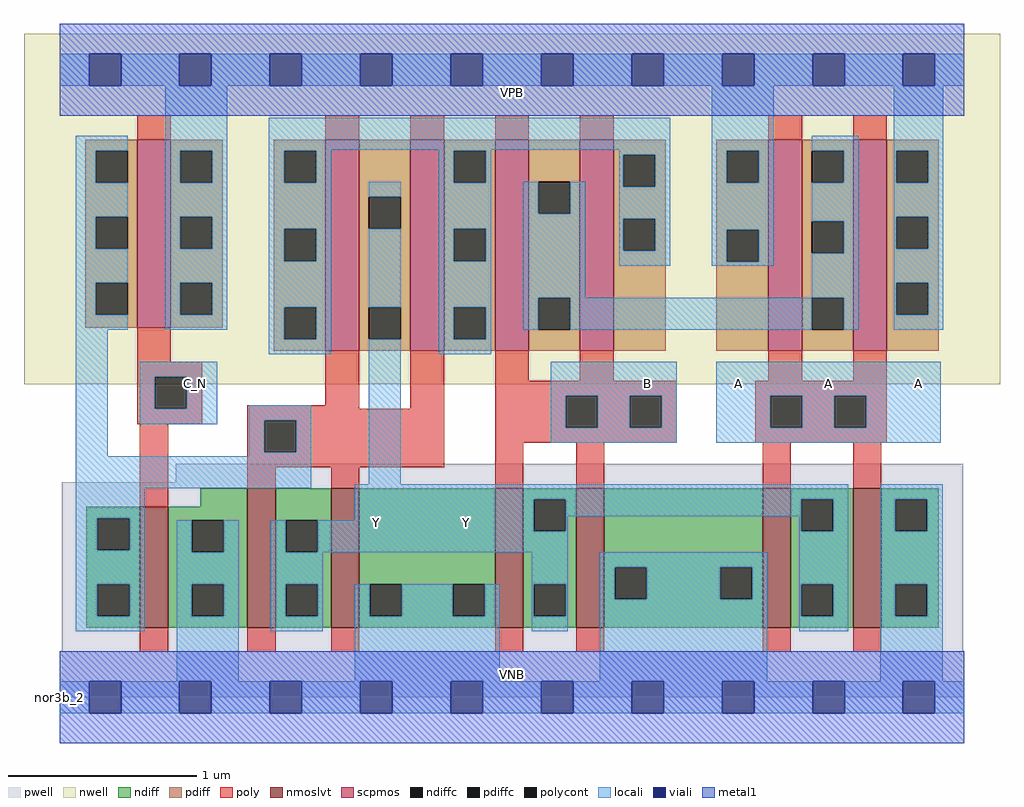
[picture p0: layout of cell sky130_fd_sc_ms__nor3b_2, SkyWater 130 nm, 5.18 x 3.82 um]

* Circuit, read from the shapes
.subckt sky130_fd_sc_ms__nor3b_2 A B C_N VGND VNB VPB VPWR Y
XM1 VGND C_N n1 VNB sky130_fd_pr__nfet_01v8_lvt w=0.64 l=0.15
XM2 Y n1 VGND VNB sky130_fd_pr__nfet_01v8_lvt w=0.74 l=0.15 m=2
XM3 Y B VGND VNB sky130_fd_pr__nfet_01v8_lvt w=0.74 l=0.15 m=2
XM4 Y A VGND VNB sky130_fd_pr__nfet_01v8_lvt w=0.74 l=0.15 m=2
XM5 VPWR C_N n1 VPB sky130_fd_pr__pfet_01v8 w=1 l=0.18
XM6 Y n1 n2 VPB sky130_fd_pr__pfet_01v8 w=1.12 l=0.18 m=2
XM7 n3 B n2 VPB sky130_fd_pr__pfet_01v8 w=1.12 l=0.18 m=2
XM8 n3 A VPWR VPB sky130_fd_pr__pfet_01v8 w=1.12 l=0.18 m=2
.ends

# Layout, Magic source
magic
tech sky130A
magscale 1 2
<< nwell >>
rect -38 332 998 704
<< pwell >>
rect 123 228 959 248
rect 2 49 959 228
rect 0 0 960 49
<< scpmos >>
rect 82 392 118 592
rect 282 368 318 592
rect 372 368 408 592
rect 462 368 498 592
rect 552 368 588 592
rect 752 368 788 592
rect 842 368 878 592
<< nmoslvt >>
rect 85 74 115 202
rect 199 74 229 222
rect 288 74 318 222
rect 462 74 492 222
rect 548 74 578 222
rect 746 74 776 222
rect 842 74 872 222
<< ndiff >>
rect 149 202 199 222
rect 28 190 85 202
rect 28 156 40 190
rect 74 156 85 190
rect 28 120 85 156
rect 28 86 40 120
rect 74 86 85 120
rect 28 74 85 86
rect 115 188 199 202
rect 115 154 140 188
rect 174 154 199 188
rect 115 120 199 154
rect 115 86 140 120
rect 174 86 199 120
rect 115 74 199 86
rect 229 188 288 222
rect 229 154 240 188
rect 274 154 288 188
rect 229 120 288 154
rect 229 86 240 120
rect 274 86 288 120
rect 229 74 288 86
rect 318 120 462 222
rect 318 86 329 120
rect 363 86 417 120
rect 451 86 462 120
rect 318 74 462 86
rect 492 210 548 222
rect 492 176 503 210
rect 537 176 548 210
rect 492 120 548 176
rect 492 86 503 120
rect 537 86 548 120
rect 492 74 548 86
rect 578 138 746 222
rect 578 104 589 138
rect 623 104 701 138
rect 735 104 746 138
rect 578 74 746 104
rect 776 210 842 222
rect 776 176 787 210
rect 821 176 842 210
rect 776 120 842 176
rect 776 86 787 120
rect 821 86 842 120
rect 776 74 842 86
rect 872 210 933 222
rect 872 176 887 210
rect 921 176 933 210
rect 872 120 933 176
rect 872 86 887 120
rect 921 86 933 120
rect 872 74 933 86
<< pdiff >>
rect 27 580 82 592
rect 27 546 38 580
rect 72 546 82 580
rect 27 510 82 546
rect 27 476 38 510
rect 72 476 82 510
rect 27 440 82 476
rect 27 406 38 440
rect 72 406 82 440
rect 27 392 82 406
rect 118 580 173 592
rect 118 546 128 580
rect 162 546 173 580
rect 118 510 173 546
rect 118 476 128 510
rect 162 476 173 510
rect 118 440 173 476
rect 118 406 128 440
rect 162 406 173 440
rect 118 392 173 406
rect 227 580 282 592
rect 227 546 238 580
rect 272 546 282 580
rect 227 497 282 546
rect 227 463 238 497
rect 272 463 282 497
rect 227 414 282 463
rect 227 380 238 414
rect 272 380 282 414
rect 227 368 282 380
rect 318 531 372 592
rect 318 497 328 531
rect 362 497 372 531
rect 318 414 372 497
rect 318 380 328 414
rect 362 380 372 414
rect 318 368 372 380
rect 408 580 462 592
rect 408 546 418 580
rect 452 546 462 580
rect 408 497 462 546
rect 408 463 418 497
rect 452 463 462 497
rect 408 414 462 463
rect 408 380 418 414
rect 452 380 462 414
rect 408 368 462 380
rect 498 547 552 592
rect 498 513 508 547
rect 542 513 552 547
rect 498 424 552 513
rect 498 390 508 424
rect 542 390 552 424
rect 498 368 552 390
rect 588 576 643 592
rect 588 542 598 576
rect 632 542 643 576
rect 588 508 643 542
rect 588 474 598 508
rect 632 474 643 508
rect 588 368 643 474
rect 697 580 752 592
rect 697 546 708 580
rect 742 546 752 580
rect 697 496 752 546
rect 697 462 708 496
rect 742 462 752 496
rect 697 368 752 462
rect 788 580 842 592
rect 788 546 798 580
rect 832 546 842 580
rect 788 505 842 546
rect 788 471 798 505
rect 832 471 842 505
rect 788 424 842 471
rect 788 390 798 424
rect 832 390 842 424
rect 788 368 842 390
rect 878 580 933 592
rect 878 546 888 580
rect 922 546 933 580
rect 878 510 933 546
rect 878 476 888 510
rect 922 476 933 510
rect 878 440 933 476
rect 878 406 888 440
rect 922 406 933 440
rect 878 368 933 406
<< ndiffc >>
rect 40 156 74 190
rect 40 86 74 120
rect 140 154 174 188
rect 140 86 174 120
rect 240 154 274 188
rect 240 86 274 120
rect 329 86 363 120
rect 417 86 451 120
rect 503 176 537 210
rect 503 86 537 120
rect 589 104 623 138
rect 701 104 735 138
rect 787 176 821 210
rect 787 86 821 120
rect 887 176 921 210
rect 887 86 921 120
<< pdiffc >>
rect 38 546 72 580
rect 38 476 72 510
rect 38 406 72 440
rect 128 546 162 580
rect 128 476 162 510
rect 128 406 162 440
rect 238 546 272 580
rect 238 463 272 497
rect 238 380 272 414
rect 328 497 362 531
rect 328 380 362 414
rect 418 546 452 580
rect 418 463 452 497
rect 418 380 452 414
rect 508 513 542 547
rect 508 390 542 424
rect 598 542 632 576
rect 598 474 632 508
rect 708 546 742 580
rect 708 462 742 496
rect 798 546 832 580
rect 798 471 832 505
rect 798 390 832 424
rect 888 546 922 580
rect 888 476 922 510
rect 888 406 922 440
<< poly >>
rect 82 592 118 618
rect 282 592 318 618
rect 372 592 408 618
rect 462 592 498 618
rect 552 592 588 618
rect 752 592 788 618
rect 842 592 878 618
rect 82 356 118 392
rect 82 340 151 356
rect 82 306 101 340
rect 135 306 151 340
rect 282 310 318 368
rect 82 290 151 306
rect 199 306 318 310
rect 372 306 408 368
rect 199 294 408 306
rect 85 202 115 290
rect 199 260 217 294
rect 251 260 408 294
rect 199 244 408 260
rect 462 336 498 368
rect 552 336 588 368
rect 752 336 788 368
rect 842 336 878 368
rect 462 320 655 336
rect 462 286 537 320
rect 571 286 605 320
rect 639 286 655 320
rect 462 270 655 286
rect 738 320 878 336
rect 738 286 754 320
rect 788 286 822 320
rect 856 286 878 320
rect 738 270 878 286
rect 199 222 229 244
rect 288 222 318 244
rect 462 222 492 270
rect 548 222 578 270
rect 746 222 776 270
rect 842 222 872 270
rect 85 48 115 74
rect 199 48 229 74
rect 288 48 318 74
rect 462 48 492 74
rect 548 48 578 74
rect 746 48 776 74
rect 842 48 872 74
<< polycont >>
rect 101 306 135 340
rect 217 260 251 294
rect 537 286 571 320
rect 605 286 639 320
rect 754 286 788 320
rect 822 286 856 320
<< locali >>
rect 0 649 31 683
rect 65 649 127 683
rect 161 649 223 683
rect 257 649 319 683
rect 353 649 415 683
rect 449 649 511 683
rect 545 649 607 683
rect 641 649 703 683
rect 737 649 799 683
rect 833 649 895 683
rect 929 649 960 683
rect 17 580 72 596
rect 17 546 38 580
rect 17 510 72 546
rect 17 476 38 510
rect 17 440 72 476
rect 17 406 38 440
rect 17 390 72 406
rect 112 580 178 649
rect 112 546 128 580
rect 162 546 178 580
rect 112 510 178 546
rect 112 476 128 510
rect 162 476 178 510
rect 112 440 178 476
rect 112 406 128 440
rect 162 406 178 440
rect 112 390 178 406
rect 222 581 648 615
rect 222 580 288 581
rect 222 546 238 580
rect 272 546 288 580
rect 402 580 458 581
rect 222 497 288 546
rect 222 463 238 497
rect 272 463 288 497
rect 222 414 288 463
rect 17 256 51 390
rect 222 380 238 414
rect 272 380 288 414
rect 222 364 288 380
rect 328 531 362 547
rect 328 414 362 497
rect 85 340 167 356
rect 85 306 101 340
rect 135 306 167 340
rect 85 290 167 306
rect 201 294 267 310
rect 201 260 217 294
rect 251 260 267 294
rect 201 256 267 260
rect 17 222 267 256
rect 328 226 362 380
rect 402 546 418 580
rect 452 546 458 580
rect 594 576 648 581
rect 402 497 458 546
rect 402 463 418 497
rect 452 463 458 497
rect 402 414 458 463
rect 402 380 418 414
rect 452 380 458 414
rect 492 513 508 547
rect 542 513 558 547
rect 492 424 558 513
rect 594 542 598 576
rect 632 542 648 576
rect 594 508 648 542
rect 594 474 598 508
rect 632 474 648 508
rect 594 458 648 474
rect 692 580 758 649
rect 692 546 708 580
rect 742 546 758 580
rect 692 496 758 546
rect 692 462 708 496
rect 742 462 758 496
rect 692 458 758 462
rect 798 580 848 596
rect 832 546 848 580
rect 798 505 848 546
rect 832 471 848 505
rect 798 424 848 471
rect 492 390 508 424
rect 542 390 798 424
rect 832 390 848 424
rect 885 580 938 649
rect 885 546 888 580
rect 922 546 938 580
rect 885 510 938 546
rect 885 476 888 510
rect 922 476 938 510
rect 885 440 938 476
rect 885 406 888 440
rect 922 406 938 440
rect 885 390 938 406
rect 402 364 458 380
rect 521 320 655 356
rect 521 286 537 320
rect 571 286 605 320
rect 639 286 655 320
rect 521 270 655 286
rect 697 320 935 356
rect 697 286 754 320
rect 788 286 822 320
rect 856 286 935 320
rect 697 270 935 286
rect 17 190 90 222
rect 17 156 40 190
rect 74 156 90 190
rect 313 210 837 226
rect 313 188 503 210
rect 17 120 90 156
rect 17 86 40 120
rect 74 86 90 120
rect 17 70 90 86
rect 124 154 140 188
rect 174 154 190 188
rect 124 120 190 154
rect 124 86 140 120
rect 174 86 190 120
rect 124 17 190 86
rect 224 154 240 188
rect 274 176 503 188
rect 537 192 787 210
rect 537 176 539 192
rect 274 154 539 176
rect 785 176 787 192
rect 821 176 837 210
rect 224 120 279 154
rect 501 120 539 154
rect 224 86 240 120
rect 274 86 279 120
rect 224 70 279 86
rect 313 86 329 120
rect 363 86 417 120
rect 451 86 467 120
rect 313 17 467 86
rect 501 86 503 120
rect 537 86 539 120
rect 501 70 539 86
rect 573 138 751 154
rect 573 104 589 138
rect 623 104 701 138
rect 735 104 751 138
rect 573 17 751 104
rect 785 120 837 176
rect 785 86 787 120
rect 821 86 837 120
rect 785 70 837 86
rect 871 210 937 226
rect 871 176 887 210
rect 921 176 937 210
rect 871 120 937 176
rect 871 86 887 120
rect 921 86 937 120
rect 871 17 937 86
rect 0 -17 31 17
rect 65 -17 127 17
rect 161 -17 223 17
rect 257 -17 319 17
rect 353 -17 415 17
rect 449 -17 511 17
rect 545 -17 607 17
rect 641 -17 703 17
rect 737 -17 799 17
rect 833 -17 895 17
rect 929 -17 960 17
<< viali >>
rect 31 649 65 683
rect 127 649 161 683
rect 223 649 257 683
rect 319 649 353 683
rect 415 649 449 683
rect 511 649 545 683
rect 607 649 641 683
rect 703 649 737 683
rect 799 649 833 683
rect 895 649 929 683
rect 31 -17 65 17
rect 127 -17 161 17
rect 223 -17 257 17
rect 319 -17 353 17
rect 415 -17 449 17
rect 511 -17 545 17
rect 607 -17 641 17
rect 703 -17 737 17
rect 799 -17 833 17
rect 895 -17 929 17
<< metal1 >>
rect 0 683 960 715
rect 0 649 31 683
rect 65 649 127 683
rect 161 649 223 683
rect 257 649 319 683
rect 353 649 415 683
rect 449 649 511 683
rect 545 649 607 683
rect 641 649 703 683
rect 737 649 799 683
rect 833 649 895 683
rect 929 649 960 683
rect 0 617 960 649
rect 0 17 960 49
rect 0 -17 31 17
rect 65 -17 127 17
rect 161 -17 223 17
rect 257 -17 319 17
rect 353 -17 415 17
rect 449 -17 511 17
rect 545 -17 607 17
rect 641 -17 703 17
rect 737 -17 799 17
rect 833 -17 895 17
rect 929 -17 960 17
rect 0 -49 960 -17
<< labels >>
flabel pwell s 0 0 960 49 0 FreeSans 200 0 0 0 VNB
port 5 nsew ground bidirectional
flabel nwell s 0 617 960 666 0 FreeSans 200 0 0 0 VPB
port 6 nsew power bidirectional
rlabel comment s 0 0 0 0 4 nor3b_2
flabel metal1 s 0 617 960 666 0 FreeSans 340 0 0 0 VPWR
port 7 nsew power bidirectional
flabel metal1 s 0 0 960 49 0 FreeSans 340 0 0 0 VGND
port 4 nsew ground bidirectional
flabel locali s 703 316 737 350 0 FreeSans 340 0 0 0 A
port 1 nsew signal input
flabel locali s 799 316 833 350 0 FreeSans 340 0 0 0 A
port 1 nsew signal input
flabel locali s 895 316 929 350 0 FreeSans 340 0 0 0 A
port 1 nsew signal input
flabel locali s 607 316 641 350 0 FreeSans 340 0 0 0 B
port 2 nsew signal input
flabel locali s 319 168 353 202 0 FreeSans 340 0 0 0 Y
port 8 nsew signal output
flabel locali s 415 168 449 202 0 FreeSans 340 0 0 0 Y
port 8 nsew signal output
flabel locali s 127 316 161 350 0 FreeSans 340 0 0 0 C_N
port 3 nsew signal input
<< properties >>
string LEFsite unit
string LEFclass CORE
string FIXED_BBOX 0 0 960 666
string GDS_FILE $PDKPATH/libs.ref/sky130_fd_sc_ms/gds/sky130_fd_sc_ms.gds
string LEFsymmetry X Y
string GDS_END 1113656
string GDS_START 1105158
<< end >>
